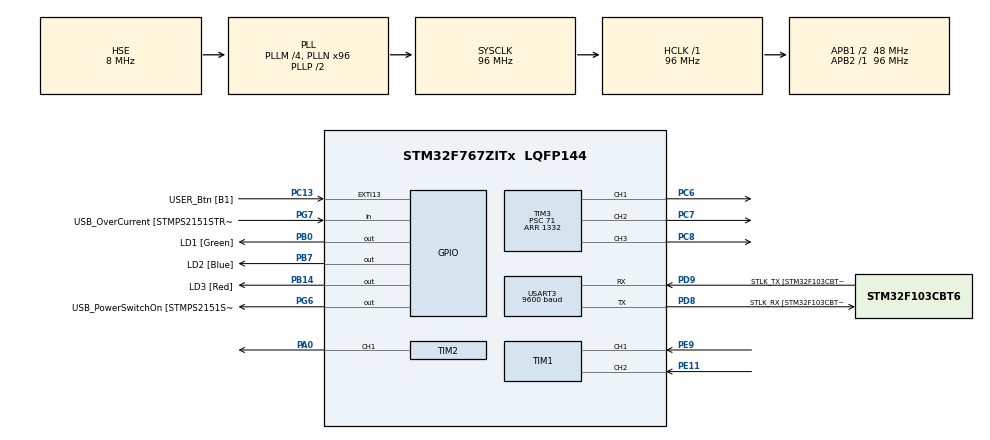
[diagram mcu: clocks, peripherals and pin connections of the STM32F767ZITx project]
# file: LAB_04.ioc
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Mcu.Family=STM32F7
Mcu.Name=STM32F767ZITx
Mcu.Package=LQFP144
NVIC.PriorityGroup=NVIC_PRIORITYGROUP_4
NVIC.TIM3_IRQn=true\:0\:0\:false\:false\:true\:true\:true\:true
NVIC.TIM4_IRQn=true\:0\:0\:false\:false\:true\:true\:true\:true
NVIC.USART3_IRQn=true\:0\:0\:false\:false\:true\:true\:true\:true
PA0/WKUP.Signal=S_TIM2_CH1_ETR
PA1.GPIO_Label=RMII_REF_CLK [LAN8742A-CZ-TR_REFCLK0]
PA1.Signal=ETH_REF_CLK
PA10.GPIO_Label=USB_ID
PA10.Signal=USB_OTG_FS_ID
PA11.GPIO_Label=USB_DM
PA11.Signal=USB_OTG_FS_DM
PA12.GPIO_Label=USB_DP
PA12.Signal=USB_OTG_FS_DP
PA13.GPIO_Label=TMS
PA13.Mode=Serial_Wire
PA13.Signal=SYS_JTMS-SWDIO
PA14.GPIO_Label=TCK
PA14.Mode=Serial_Wire
PA14.Signal=SYS_JTCK-SWCLK
PA2.GPIO_Label=RMII_MDIO [LAN8742A-CZ-TR_MDIO]
PA2.Signal=ETH_MDIO
PA7.GPIO_Label=RMII_CRS_DV [LAN8742A-CZ-TR_CRS_DV]
PA7.Signal=ETH_CRS_DV
PA8.GPIO_Label=USB_SOF [TP1]
PA8.Signal=USB_OTG_FS_SOF
PA9.GPIO_Label=USB_VBUS
PA9.Signal=USB_OTG_FS_VBUS
PB0.GPIO_Label=LD1 [Green]
PB0.Signal=GPIO_Output
PB13.GPIO_Label=RMII_TXD1 [LAN8742A-CZ-TR_TXD1]
PB13.Signal=ETH_TXD1
PB14.GPIO_Label=LD3 [Red]
PB14.Signal=GPIO_Output
PB3.GPIO_Label=SWO
PB3.Signal=SYS_JTDO-SWO
PB7.GPIO_Label=LD2 [Blue]
PB7.Signal=GPIO_Output
PC1.GPIO_Label=RMII_MDC [LAN8742A-CZ-TR_MDC]
PC1.Signal=ETH_MDC
PC13.GPIO_Label=USER_Btn [B1]
PC13.Signal=GPXTI13
PC14/OSC32_IN.Mode=LSE-External-Oscillator
PC14/OSC32_IN.Signal=RCC_OSC32_IN
PC15/OSC32_OUT.Mode=LSE-External-Oscillator
PC15/OSC32_OUT.Signal=RCC_OSC32_OUT
PC4.GPIO_Label=RMII_RXD0 [LAN8742A-CZ-TR_RXD0]
PC4.Signal=ETH_RXD0
PC5.GPIO_Label=RMII_RXD1 [LAN8742A-CZ-TR_RXD1]
PC5.Signal=ETH_RXD1
PC6.GPIO_Speed=GPIO_SPEED_FREQ_HIGH
PC6.Signal=S_TIM3_CH1
PC7.GPIO_Speed=GPIO_SPEED_FREQ_HIGH
PC7.Signal=S_TIM3_CH2
PC8.GPIO_Speed=GPIO_SPEED_FREQ_HIGH
PC8.Signal=S_TIM3_CH3
PD8.GPIO_Label=STLK_RX [STM32F103CBT6_PA3]
PD8.Mode=Asynchronous
PD8.Signal=USART3_TX
PD9.GPIO_Label=STLK_TX [STM32F103CBT6_PA2]
PD9.Mode=Asynchronous
PD9.Signal=USART3_RX
PE11.Signal=S_TIM1_CH2
PE9.Signal=S_TIM1_CH1
PG11.GPIO_Label=RMII_TX_EN [LAN8742A-CZ-TR_TXEN]
PG11.Signal=ETH_TX_EN
PG13.GPIO_Label=RMII_TXD0 [LAN8742A-CZ-TR_TXD0]
PG13.Signal=ETH_TXD0
PG6.GPIO_Label=USB_PowerSwitchOn [STMPS2151STR_EN]
PG6.Signal=GPIO_Output
PG7.GPIO_Label=USB_OverCurrent [STMPS2151STR_FAULT]
PG7.Signal=GPIO_Input
PH0/OSC_IN.GPIO_Label=MCO [STM32F103CBT6_PA8]
PH0/OSC_IN.Mode=HSE-External-Clock-Source
PH0/OSC_IN.Signal=RCC_OSC_IN
PH1/OSC_OUT.Mode=HSE-External-Clock-Source
PH1/OSC_OUT.Signal=RCC_OSC_OUT
ProjectManager.HeapSize=0x200
ProjectManager.StackSize=0x400
ProjectManager.TargetToolchain=STM32CubeIDE
RCC.48MHZClocksFreq_Value=24000000
RCC.AHBFreq_Value=96000000
RCC.APB1CLKDivider=RCC_HCLK_DIV2
RCC.APB1Freq_Value=48000000
RCC.APB1TimFreq_Value=96000000
RCC.APB2Freq_Value=96000000
RCC.APB2TimFreq_Value=96000000
RCC.CortexFreq_Value=96000000
RCC.HCLKFreq_Value=96000000
RCC.HSE_VALUE=8000000
RCC.HSI_VALUE=16000000
RCC.PLLM=4
RCC.PLLMUL=RCC_PLL_MUL9
RCC.PLLN=96
RCC.PLLQ=4
RCC.PLLSourceVirtual=RCC_PLLSOURCE_HSE
RCC.PRESCALERUSB=RCC_USBCLKSOURCE_PLL_DIV1_5
RCC.SYSCLKFreq_VALUE=96000000
RCC.SYSCLKSource=RCC_SYSCLKSOURCE_PLLCLK
RCC.SYSCLKSourceVirtual=RCC_SYSCLKSOURCE_PLLCLK
RCC.USBFreq_Value=48000000
RCC.VCOOutputFreq_Value=192000000
SH.S_TIM1_CH1.0=TIM1_CH1,Encoder_Interface
SH.S_TIM1_CH2.0=TIM1_CH2,Encoder_Interface
SH.S_TIM2_CH1_ETR.0=TIM2_CH1,PWM Generation1 CH1
SH.S_TIM3_CH1.0=TIM3_CH1,PWM Generation1 CH1
SH.S_TIM3_CH2.0=TIM3_CH2,PWM Generation2 CH2
SH.S_TIM3_CH3.0=TIM3_CH3,PWM Generation3 CH3
TIM1.EncoderMode=TIM_ENCODERMODE_TI12
TIM2.Channel-PWM\ Generation1\ CH1=TIM_CHANNEL_1
TIM2.Period=4999
TIM2.Prescaler=9599
TIM3.Channel-PWM\ Generation1\ CH1=TIM_CHANNEL_1
TIM3.Channel-PWM\ Generation2\ CH2=TIM_CHANNEL_2
TIM3.Channel-PWM\ Generation3\ CH3=TIM_CHANNEL_3
TIM3.OC1Preload_PWM=DISABLE
TIM3.OC2Preload_PWM=DISABLE
TIM3.OC3Preload_PWM=DISABLE
TIM3.Period=1332
TIM3.Prescaler=71
TIM3.Pulse-PWM\ Generation1\ CH1=500
TIM3.Pulse-PWM\ Generation2\ CH2=500
TIM3.Pulse-PWM\ Generation3\ CH3=500
TIM4.Period=9999
TIM4.Prescaler=9599
USART3.BaudRate=9600
USART3.VirtualMode-Asynchronous=VM_ASYNC
VP_TIM2_VS_ClockSourceINT.Mode=Internal
VP_TIM3_VS_ClockSourceINT.Mode=Internal
VP_TIM4_VS_ClockSourceINT.Mode=Internal
board=NUCLEO-F767ZI

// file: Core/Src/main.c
/* USER CODE BEGIN Header */
/**
 ******************************************************************************
 * @file           : main.c
 * @brief          : Main program body
 ******************************************************************************
 * @attention
 *
 * Copyright (c) 2025 STMicroelectronics.
 * All rights reserved.
 *
 * This software is licensed under terms that can be found in the LICENSE file
 * in the root directory of this software component.
 * If no LICENSE file comes with this software, it is provided AS-IS.
 *
 ******************************************************************************
 */
/* USER CODE END Header */
#include "main.h"

/* USER CODE BEGIN Includes */
#include <stdlib.h>
#include <stdio.h>
#include <string.h>

/* USER CODE END Includes */

TIM_HandleTypeDef htim1;
TIM_HandleTypeDef htim2;
TIM_HandleTypeDef htim3;
TIM_HandleTypeDef htim4;

UART_HandleTypeDef huart3;

void SystemClock_Config(void);
static void MX_GPIO_Init(void);
static void MX_USART3_UART_Init(void);
static void MX_TIM3_Init(void);
static void MX_TIM2_Init(void);
static void MX_TIM1_Init(void);
static void MX_TIM4_Init(void);

/* USER CODE BEGIN 0 */
// test komenatrz

void SetPWM(TIM_HandleTypeDef *htim, uint32_t channel, float duty)
{
	if (duty < 0.0f)
		duty = 0.0f;
	if (duty > 100.0f)
		duty = 100.0f;

	uint32_t ARR = __HAL_TIM_GET_AUTORELOAD(htim);
	uint32_t compare = (uint32_t)((duty / 100.0f) * (ARR + 1));
	__HAL_TIM_SET_COMPARE(htim, channel, compare);
}

float red = 0.0f;
float green = 0.0f;
float blue = 0.0f;
float duty = 0.0f;

void zad1()
{
	red = 0.0f;
	green = 0.0f;
	blue = 0.0f;

//	red = 50.0f;
//	green = 50.0f;
//	blue = 50.0f;

//	red = 100.0f;
//	green = 0.0f;
//	blue = 1.0f;

	SetPWM(&htim3, TIM_CHANNEL_1, red);
	SetPWM(&htim3, TIM_CHANNEL_2, green);
	SetPWM(&htim3, TIM_CHANNEL_3, blue);
}

void zad2()
{
	if (__HAL_TIM_GET_FLAG(&htim2, TIM_FLAG_UPDATE))
	{
		__HAL_TIM_CLEAR_FLAG(&htim2, TIM_FLAG_UPDATE);

		duty += 10.0f;
		if (duty > 100.0f)
			duty = 0.0f;
		SetPWM(&htim3, TIM_CHANNEL_1, duty);
		SetPWM(&htim3, TIM_CHANNEL_2, duty);
		SetPWM(&htim3, TIM_CHANNEL_3, duty);
	}
}

uint8_t rxBuffer[12];

void HAL_UART_RxCpltCallback(UART_HandleTypeDef *huart)
{

	//	char color = rxBuffer[0];
	//	if (rxBuffer[0] == 'R' && rxBuffer[4] == 'G' && rxBuffer[8] == 'B') {
	int valueR = atoi((char *)&rxBuffer[1]);
	int valueG = atoi((char *)&rxBuffer[5]);
	int valueB = atoi((char *)&rxBuffer[9]);

	float dutyR = (float)valueR;
	float dutyG = (float)valueG;
	float dutyB = (float)valueB;

	SetPWM(&htim3, TIM_CHANNEL_1, dutyR);
	SetPWM(&htim3, TIM_CHANNEL_2, dutyG);
	SetPWM(&htim3, TIM_CHANNEL_3, dutyB);

	//	}

	HAL_UART_Receive_IT(&huart3, rxBuffer, 12);

	//	switch (color) {
	//	case 'R':
	//		dutyR = duty;
	//
	//		break;
	//	case 'G':
	//		dutyG = duty;
	//		SetPWM(&htim3, TIM_CHANNEL_2, dutyG);
	//		break;
	//	case 'B':
	//		dutyB = duty;
	//		SetPWM(&htim3, TIM_CHANNEL_3, dutyB);
	//		break;
	//	default:
	//		break;

	// Restart odbioru kolejnej ramki
}

void zad3()
{

	//	float dutyR = 0, dutyG = 0, dutyB = 0;

	HAL_UART_Receive_IT(&huart3, rxBuffer, 12);
}

int encoder_count = 0;

void zad5() {
	HAL_TIM_Encoder_Start(&htim1, TIM_CHANNEL_1);
	HAL_TIM_Encoder_Start(&htim1, TIM_CHANNEL_2);

}

void HAL_TIM_PeriodElapsedCallback(TIM_HandleTypeDef *htim) {
	if(htim->Instance == TIM4) {
		char msg[30];
		sprintf(msg, "%i\r\n", encoder_count);

		HAL_UART_Transmit(&huart3, (uint8_t*)msg, strlen(msg), HAL_MAX_DELAY);

	}
}

void zad6() {

}
/* USER CODE END 0 */

int main(void)
{

  /* MCU Configuration--------------------------------------------------------*/

  /* Reset of all peripherals, Initializes the Flash interface and the Systick. */
  HAL_Init();

  /* Configure the system clock */
  SystemClock_Config();

  /* Initialize all configured peripherals */
  MX_GPIO_Init();
  MX_USART3_UART_Init();
  MX_TIM3_Init();
  MX_TIM2_Init();
  MX_TIM1_Init();
  MX_TIM4_Init();
  /* USER CODE BEGIN 2 */

	HAL_TIM_Base_Start(&htim2);
	HAL_TIM_Base_Start_IT(&htim4);

	HAL_TIM_PWM_Start(&htim3, TIM_CHANNEL_1);
	HAL_TIM_PWM_Start(&htim3, TIM_CHANNEL_2);
	HAL_TIM_PWM_Start(&htim3, TIM_CHANNEL_3);

//		zad1();
//	zad3();

	zad5();

  /* USER CODE END 2 */

  /* Infinite loop */
  /* USER CODE BEGIN WHILE */
	while (1)
	{
		HAL_Delay(1);
		encoder_count = htim1.Instance->CNT;

//				zad2();

    /* USER CODE END WHILE */

	}
}

void SystemClock_Config(void)
{
  RCC_OscInitTypeDef RCC_OscInitStruct = {0};
  RCC_ClkInitTypeDef RCC_ClkInitStruct = {0};

  /** Configure LSE Drive Capability
  */
  HAL_PWR_EnableBkUpAccess();

  /** Configure the main internal regulator output voltage
  */
  __HAL_RCC_PWR_CLK_ENABLE();
  __HAL_PWR_VOLTAGESCALING_CONFIG(PWR_REGULATOR_VOLTAGE_SCALE3);

  /** Initializes the RCC Oscillators according to the specified parameters
  * in the RCC_OscInitTypeDef structure.
  */
  RCC_OscInitStruct.OscillatorType = RCC_OSCILLATORTYPE_HSE;
  RCC_OscInitStruct.HSEState = RCC_HSE_BYPASS;
  RCC_OscInitStruct.PLL.PLLState = RCC_PLL_ON;
  RCC_OscInitStruct.PLL.PLLSource = RCC_PLLSOURCE_HSE;
  RCC_OscInitStruct.PLL.PLLM = 4;
  RCC_OscInitStruct.PLL.PLLN = 96;
  RCC_OscInitStruct.PLL.PLLP = RCC_PLLP_DIV2;
  RCC_OscInitStruct.PLL.PLLQ = 4;
  RCC_OscInitStruct.PLL.PLLR = 2;
  if (HAL_RCC_OscConfig(&RCC_OscInitStruct) != HAL_OK)
  {
    Error_Handler();
  }

  /** Activate the Over-Drive mode
  */
  if (HAL_PWREx_EnableOverDrive() != HAL_OK)
  {
    Error_Handler();
  }

  /** Initializes the CPU, AHB and APB buses clocks
  */
  RCC_ClkInitStruct.ClockType = RCC_CLOCKTYPE_HCLK|RCC_CLOCKTYPE_SYSCLK
                              |RCC_CLOCKTYPE_PCLK1|RCC_CLOCKTYPE_PCLK2;
  RCC_ClkInitStruct.SYSCLKSource = RCC_SYSCLKSOURCE_PLLCLK;
  RCC_ClkInitStruct.AHBCLKDivider = RCC_SYSCLK_DIV1;
  RCC_ClkInitStruct.APB1CLKDivider = RCC_HCLK_DIV2;
  RCC_ClkInitStruct.APB2CLKDivider = RCC_HCLK_DIV1;

  if (HAL_RCC_ClockConfig(&RCC_ClkInitStruct, FLASH_LATENCY_3) != HAL_OK)
  {
    Error_Handler();
  }
}

static void MX_TIM1_Init(void)
{

  TIM_Encoder_InitTypeDef sConfig = {0};
  TIM_MasterConfigTypeDef sMasterConfig = {0};

  htim1.Instance = TIM1;
  htim1.Init.Prescaler = 0;
  htim1.Init.CounterMode = TIM_COUNTERMODE_UP;
  htim1.Init.Period = 65535;
  htim1.Init.ClockDivision = TIM_CLOCKDIVISION_DIV1;
  htim1.Init.RepetitionCounter = 0;
  htim1.Init.AutoReloadPreload = TIM_AUTORELOAD_PRELOAD_DISABLE;
  sConfig.EncoderMode = TIM_ENCODERMODE_TI12;
  sConfig.IC1Polarity = TIM_ICPOLARITY_RISING;
  sConfig.IC1Selection = TIM_ICSELECTION_DIRECTTI;
  sConfig.IC1Prescaler = TIM_ICPSC_DIV1;
  sConfig.IC1Filter = 0;
  sConfig.IC2Polarity = TIM_ICPOLARITY_RISING;
  sConfig.IC2Selection = TIM_ICSELECTION_DIRECTTI;
  sConfig.IC2Prescaler = TIM_ICPSC_DIV1;
  sConfig.IC2Filter = 0;
  if (HAL_TIM_Encoder_Init(&htim1, &sConfig) != HAL_OK)
  {
    Error_Handler();
  }
  sMasterConfig.MasterOutputTrigger = TIM_TRGO_RESET;
  sMasterConfig.MasterOutputTrigger2 = TIM_TRGO2_RESET;
  sMasterConfig.MasterSlaveMode = TIM_MASTERSLAVEMODE_DISABLE;
  if (HAL_TIMEx_MasterConfigSynchronization(&htim1, &sMasterConfig) != HAL_OK)
  {
    Error_Handler();
  }

}

static void MX_TIM2_Init(void)
{

  TIM_ClockConfigTypeDef sClockSourceConfig = {0};
  TIM_MasterConfigTypeDef sMasterConfig = {0};
  TIM_OC_InitTypeDef sConfigOC = {0};

  htim2.Instance = TIM2;
  htim2.Init.Prescaler = 9599;
  htim2.Init.CounterMode = TIM_COUNTERMODE_UP;
  htim2.Init.Period = 4999;
  htim2.Init.ClockDivision = TIM_CLOCKDIVISION_DIV1;
  htim2.Init.AutoReloadPreload = TIM_AUTORELOAD_PRELOAD_DISABLE;
  if (HAL_TIM_Base_Init(&htim2) != HAL_OK)
  {
    Error_Handler();
  }
  sClockSourceConfig.ClockSource = TIM_CLOCKSOURCE_INTERNAL;
  if (HAL_TIM_ConfigClockSource(&htim2, &sClockSourceConfig) != HAL_OK)
  {
    Error_Handler();
  }
  if (HAL_TIM_PWM_Init(&htim2) != HAL_OK)
  {
    Error_Handler();
  }
  sMasterConfig.MasterOutputTrigger = TIM_TRGO_RESET;
  sMasterConfig.MasterSlaveMode = TIM_MASTERSLAVEMODE_DISABLE;
  if (HAL_TIMEx_MasterConfigSynchronization(&htim2, &sMasterConfig) != HAL_OK)
  {
    Error_Handler();
  }
  sConfigOC.OCMode = TIM_OCMODE_PWM1;
  sConfigOC.Pulse = 0;
  sConfigOC.OCPolarity = TIM_OCPOLARITY_HIGH;
  sConfigOC.OCFastMode = TIM_OCFAST_DISABLE;
  if (HAL_TIM_PWM_ConfigChannel(&htim2, &sConfigOC, TIM_CHANNEL_1) != HAL_OK)
  {
    Error_Handler();
  }
  HAL_TIM_MspPostInit(&htim2);

}

static void MX_TIM3_Init(void)
{

  TIM_ClockConfigTypeDef sClockSourceConfig = {0};
  TIM_MasterConfigTypeDef sMasterConfig = {0};
  TIM_OC_InitTypeDef sConfigOC = {0};

  htim3.Instance = TIM3;
  htim3.Init.Prescaler = 71;
  htim3.Init.CounterMode = TIM_COUNTERMODE_UP;
  htim3.Init.Period = 1332;
  htim3.Init.ClockDivision = TIM_CLOCKDIVISION_DIV1;
  htim3.Init.AutoReloadPreload = TIM_AUTORELOAD_PRELOAD_DISABLE;
  if (HAL_TIM_Base_Init(&htim3) != HAL_OK)
  {
    Error_Handler();
  }
  sClockSourceConfig.ClockSource = TIM_CLOCKSOURCE_INTERNAL;
  if (HAL_TIM_ConfigClockSource(&htim3, &sClockSourceConfig) != HAL_OK)
  {
    Error_Handler();
  }
  if (HAL_TIM_PWM_Init(&htim3) != HAL_OK)
  {
    Error_Handler();
  }
  sMasterConfig.MasterOutputTrigger = TIM_TRGO_RESET;
  sMasterConfig.MasterSlaveMode = TIM_MASTERSLAVEMODE_DISABLE;
  if (HAL_TIMEx_MasterConfigSynchronization(&htim3, &sMasterConfig) != HAL_OK)
  {
    Error_Handler();
  }
  sConfigOC.OCMode = TIM_OCMODE_PWM1;
  sConfigOC.Pulse = 500;
  sConfigOC.OCPolarity = TIM_OCPOLARITY_HIGH;
  sConfigOC.OCFastMode = TIM_OCFAST_DISABLE;
  if (HAL_TIM_PWM_ConfigChannel(&htim3, &sConfigOC, TIM_CHANNEL_1) != HAL_OK)
  {
    Error_Handler();
  }
  __HAL_TIM_DISABLE_OCxPRELOAD(&htim3, TIM_CHANNEL_1);
  if (HAL_TIM_PWM_ConfigChannel(&htim3, &sConfigOC, TIM_CHANNEL_2) != HAL_OK)
  {
    Error_Handler();
  }
  __HAL_TIM_DISABLE_OCxPRELOAD(&htim3, TIM_CHANNEL_2);
  if (HAL_TIM_PWM_ConfigChannel(&htim3, &sConfigOC, TIM_CHANNEL_3) != HAL_OK)
  {
    Error_Handler();
  }
  __HAL_TIM_DISABLE_OCxPRELOAD(&htim3, TIM_CHANNEL_3);
  HAL_TIM_MspPostInit(&htim3);

}

static void MX_TIM4_Init(void)
{

  TIM_ClockConfigTypeDef sClockSourceConfig = {0};
  TIM_MasterConfigTypeDef sMasterConfig = {0};

  htim4.Instance = TIM4;
  htim4.Init.Prescaler = 9599;
  htim4.Init.CounterMode = TIM_COUNTERMODE_UP;
  htim4.Init.Period = 9999;
  htim4.Init.ClockDivision = TIM_CLOCKDIVISION_DIV1;
  htim4.Init.AutoReloadPreload = TIM_AUTORELOAD_PRELOAD_DISABLE;
  if (HAL_TIM_Base_Init(&htim4) != HAL_OK)
  {
    Error_Handler();
  }
  sClockSourceConfig.ClockSource = TIM_CLOCKSOURCE_INTERNAL;
  if (HAL_TIM_ConfigClockSource(&htim4, &sClockSourceConfig) != HAL_OK)
  {
    Error_Handler();
  }
  sMasterConfig.MasterOutputTrigger = TIM_TRGO_RESET;
  sMasterConfig.MasterSlaveMode = TIM_MASTERSLAVEMODE_DISABLE;
  if (HAL_TIMEx_MasterConfigSynchronization(&htim4, &sMasterConfig) != HAL_OK)
  {
    Error_Handler();
  }

}

static void MX_USART3_UART_Init(void)
{

  huart3.Instance = USART3;
  huart3.Init.BaudRate = 9600;
  huart3.Init.WordLength = UART_WORDLENGTH_8B;
  huart3.Init.StopBits = UART_STOPBITS_1;
  huart3.Init.Parity = UART_PARITY_NONE;
  huart3.Init.Mode = UART_MODE_TX_RX;
  huart3.Init.HwFlowCtl = UART_HWCONTROL_NONE;
  huart3.Init.OverSampling = UART_OVERSAMPLING_16;
  huart3.Init.OneBitSampling = UART_ONE_BIT_SAMPLE_DISABLE;
  huart3.AdvancedInit.AdvFeatureInit = UART_ADVFEATURE_NO_INIT;
  if (HAL_UART_Init(&huart3) != HAL_OK)
  {
    Error_Handler();
  }

}

static void MX_GPIO_Init(void)
{
  GPIO_InitTypeDef GPIO_InitStruct = {0};

  /* GPIO Ports Clock Enable */
  __HAL_RCC_GPIOC_CLK_ENABLE();
  __HAL_RCC_GPIOH_CLK_ENABLE();
  __HAL_RCC_GPIOA_CLK_ENABLE();
  __HAL_RCC_GPIOB_CLK_ENABLE();
  __HAL_RCC_GPIOE_CLK_ENABLE();
  __HAL_RCC_GPIOD_CLK_ENABLE();
  __HAL_RCC_GPIOG_CLK_ENABLE();

  /*Configure GPIO pin Output Level */
  HAL_GPIO_WritePin(GPIOB, LD1_Pin|LD3_Pin|LD2_Pin, GPIO_PIN_RESET);

  /*Configure GPIO pin Output Level */
  HAL_GPIO_WritePin(USB_PowerSwitchOn_GPIO_Port, USB_PowerSwitchOn_Pin, GPIO_PIN_RESET);

  /*Configure GPIO pin : USER_Btn_Pin */
  GPIO_InitStruct.Pin = USER_Btn_Pin;
  GPIO_InitStruct.Mode = GPIO_MODE_IT_RISING;
  GPIO_InitStruct.Pull = GPIO_NOPULL;
  HAL_GPIO_Init(USER_Btn_GPIO_Port, &GPIO_InitStruct);

  /*Configure GPIO pins : RMII_MDC_Pin RMII_RXD0_Pin RMII_RXD1_Pin */
  GPIO_InitStruct.Pin = RMII_MDC_Pin|RMII_RXD0_Pin|RMII_RXD1_Pin;
  GPIO_InitStruct.Mode = GPIO_MODE_AF_PP;
  GPIO_InitStruct.Pull = GPIO_NOPULL;
  GPIO_InitStruct.Speed = GPIO_SPEED_FREQ_VERY_HIGH;
  GPIO_InitStruct.Alternate = GPIO_AF11_ETH;
  HAL_GPIO_Init(GPIOC, &GPIO_InitStruct);

  /*Configure GPIO pins : RMII_REF_CLK_Pin RMII_MDIO_Pin RMII_CRS_DV_Pin */
  GPIO_InitStruct.Pin = RMII_REF_CLK_Pin|RMII_MDIO_Pin|RMII_CRS_DV_Pin;
  GPIO_InitStruct.Mode = GPIO_MODE_AF_PP;
  GPIO_InitStruct.Pull = GPIO_NOPULL;
  GPIO_InitStruct.Speed = GPIO_SPEED_FREQ_VERY_HIGH;
  GPIO_InitStruct.Alternate = GPIO_AF11_ETH;
  HAL_GPIO_Init(GPIOA, &GPIO_InitStruct);

  /*Configure GPIO pins : LD1_Pin LD3_Pin LD2_Pin */
  GPIO_InitStruct.Pin = LD1_Pin|LD3_Pin|LD2_Pin;
  GPIO_InitStruct.Mode = GPIO_MODE_OUTPUT_PP;
  GPIO_InitStruct.Pull = GPIO_NOPULL;
  GPIO_InitStruct.Speed = GPIO_SPEED_FREQ_LOW;
  HAL_GPIO_Init(GPIOB, &GPIO_InitStruct);

  /*Configure GPIO pin : RMII_TXD1_Pin */
  GPIO_InitStruct.Pin = RMII_TXD1_Pin;
  GPIO_InitStruct.Mode = GPIO_MODE_AF_PP;
  GPIO_InitStruct.Pull = GPIO_NOPULL;
  GPIO_InitStruct.Speed = GPIO_SPEED_FREQ_VERY_HIGH;
  GPIO_InitStruct.Alternate = GPIO_AF11_ETH;
  HAL_GPIO_Init(RMII_TXD1_GPIO_Port, &GPIO_InitStruct);

  /*Configure GPIO pin : USB_PowerSwitchOn_Pin */
  GPIO_InitStruct.Pin = USB_PowerSwitchOn_Pin;
  GPIO_InitStruct.Mode = GPIO_MODE_OUTPUT_PP;
  GPIO_InitStruct.Pull = GPIO_NOPULL;
  GPIO_InitStruct.Speed = GPIO_SPEED_FREQ_LOW;
  HAL_GPIO_Init(USB_PowerSwitchOn_GPIO_Port, &GPIO_InitStruct);

  /*Configure GPIO pin : USB_OverCurrent_Pin */
  GPIO_InitStruct.Pin = USB_OverCurrent_Pin;
  GPIO_InitStruct.Mode = GPIO_MODE_INPUT;
  GPIO_InitStruct.Pull = GPIO_NOPULL;
  HAL_GPIO_Init(USB_OverCurrent_GPIO_Port, &GPIO_InitStruct);

  /*Configure GPIO pins : USB_SOF_Pin USB_ID_Pin USB_DM_Pin USB_DP_Pin */
  GPIO_InitStruct.Pin = USB_SOF_Pin|USB_ID_Pin|USB_DM_Pin|USB_DP_Pin;
  GPIO_InitStruct.Mode = GPIO_MODE_AF_PP;
  GPIO_InitStruct.Pull = GPIO_NOPULL;
  GPIO_InitStruct.Speed = GPIO_SPEED_FREQ_VERY_HIGH;
  GPIO_InitStruct.Alternate = GPIO_AF10_OTG_FS;
  HAL_GPIO_Init(GPIOA, &GPIO_InitStruct);

  /*Configure GPIO pin : USB_VBUS_Pin */
  GPIO_InitStruct.Pin = USB_VBUS_Pin;
  GPIO_InitStruct.Mode = GPIO_MODE_INPUT;
  GPIO_InitStruct.Pull = GPIO_NOPULL;
  HAL_GPIO_Init(USB_VBUS_GPIO_Port, &GPIO_InitStruct);

  /*Configure GPIO pins : RMII_TX_EN_Pin RMII_TXD0_Pin */
  GPIO_InitStruct.Pin = RMII_TX_EN_Pin|RMII_TXD0_Pin;
  GPIO_InitStruct.Mode = GPIO_MODE_AF_PP;
  GPIO_InitStruct.Pull = GPIO_NOPULL;
  GPIO_InitStruct.Speed = GPIO_SPEED_FREQ_VERY_HIGH;
  GPIO_InitStruct.Alternate = GPIO_AF11_ETH;
  HAL_GPIO_Init(GPIOG, &GPIO_InitStruct);

}

void Error_Handler(void)
{
	__disable_irq();
	while (1)
	{
	}
}
